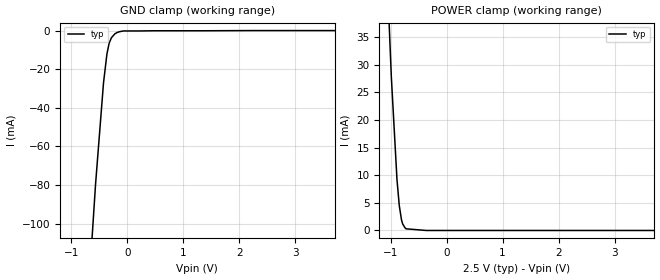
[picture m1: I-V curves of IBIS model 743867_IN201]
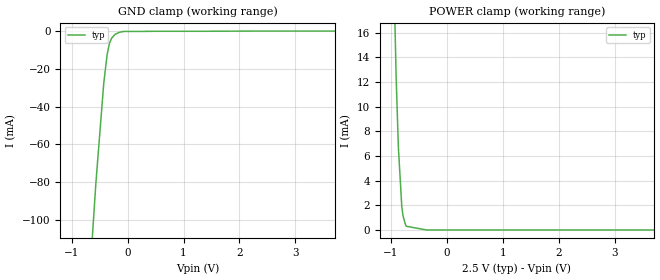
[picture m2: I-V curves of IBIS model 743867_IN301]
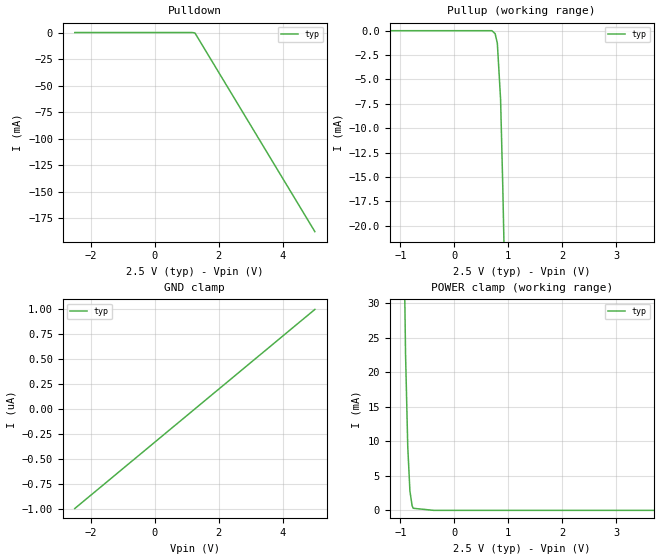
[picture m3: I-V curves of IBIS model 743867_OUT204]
| YOU ARE ONLY AUTHORIZED TO USE THIS SOFTWARE
| ACCORDING TO LICENSOR'S LICENSE RESTRICTIONS.
[IBIS Ver] 3.1
[File Name] nbsg11ba_25v.ibs
[File Rev] 0.1
[Source] Derived from NBSG16BA_25v Measured and created by ICX Technology
[Date] 1/14/2002
[Copyright]
| (C) COPYRIGHT 1993-2001
| MENTOR GRAPHICS CORPORATION
| ICX STANDARD LIBRARY, ICX PROJECT MODELING,
| ICX CUSTOM MODELING, ICX VENDOR MODEL
| ALL RIGHTS RESERVED.
| THE FOLLOWING ARE TRADEMARKS OR SERVICE MARKS OF
| MENTOR GRAPHICS CORPORATION:ICX (R), ICX STANDARD
| LIBRARY(R), ICX PROJECT MODELING(R), ICX CUSTOM
| MODELING(R), qualityIBIS(TM), MODELVIEWER(TM),
| AND MODELEDITOR(TM)
| ALL COPIES OF SOFTWARE, INCLUDING BUT NOT LIMITED TO
| ANY MODIFICATIONS, ENHANCEMENTS OR DERIVATIVE WORKS,
| MUST CONTAIN ALL MENTOR GRAPHICS CORPORATION'S
| NOTICES AND LEGENDS, INCLUDING THOSE EMBEDDED IN
| SOFTWARE AND THOSE AFFIXED TO SOFTWARE MEDIUM
| AND CONTAINER, AS RECEIVED FROM MENTOR GRAPHICS
| CORPORATION.
|  ZAP Model Builder 3.2
[Component] NBSG11BA_25v
[Manufacturer] OnSemico
[Package]
| variable   typ   min   max
R_pkg  .154ohms NA NA
L_pkg  1.727nH NA NA
C_pkg  1.114pF NA NA
[Pin] signal_name  model_name  R_pin  L_pin C_pin
A1 VTCLK NC .144 1.675n 1.08p
A2 NC NC .158 1.726n 1.113p
A3 NC NC .158 1.726n 1.113p
A4 _Q1 743867_OUT304 .149 1.726n 1.113p
B1 CLK 743867_IN201 .149 1.726n 1.113p
B2 VEE POWER .163 1.78n 1.148p
B3 VCC POWER .144 1.675n 1.08p
B4 Q1 743867_OUT204 .149 1.726n 1.113p
C1 _CLK 743867_IN301 .149 1.726n 1.113p
C2 VEE POWER .163 1.78n 1.148p
C3 VCC POWER .144 1.675n 1.08p
C4 _Q0 743867_OUT304 .149 1.726n 1.113p
D1 _VTCLK NC .144 1.675n 1.08p
D2 NC NC .158 1.726n 1.113p
D3 NC NC .158 1.726n 1.113p
D4 Q0 743867_OUT204 .149 1.726n 1.113p
[Diff Pin] inv_pin vdiff tdelay_typ tdelay_min tdelay_max
B1 C1 150mv NA NA NA
B4 A4 NA 0.150ns NA NA
D4 C4 NA 0.150ns NA NA
| Models and submodels in the file (4): 743867_IN201 (Input_ECL), 743867_IN301 (Input_ECL), 743867_OUT204 (Output_ECL), 743867_OUT304 (Output_ECL)
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| (C) COPYRIGHT 1993-2001
| MENTOR GRAPHICS CORPORATION
| ICX STANDARD LIBRARY, ICX PROJECT MODELING,
| ICX CUSTOM MODELING, ICX VENDOR MODEL
| ALL RIGHTS RESERVED.
| THE FOLLOWING ARE TRADEMARKS OR SERVICE MARKS OF
| MENTOR GRAPHICS CORPORATION:ICX (R), ICX STANDARD
| LIBRARY(R), ICX PROJECT MODELING(R), ICX CUSTOM
| MODELING(R), qualityIBIS(TM), MODELVIEWER(TM),
| AND MODELEDITOR(TM)
| ALL COPIES OF SOFTWARE, INCLUDING BUT NOT LIMITED TO
| ANY MODIFICATIONS, ENHANCEMENTS OR DERIVATIVE WORKS,
| MUST CONTAIN ALL MENTOR GRAPHICS CORPORATION'S
| NOTICES AND LEGENDS, INCLUDING THOSE EMBEDDED IN
| SOFTWARE AND THOSE AFFIXED TO SOFTWARE MEDIUM
| AND CONTAINER, AS RECEIVED FROM MENTOR GRAPHICS
| CORPORATION.
| Model Application Version 1.89 2/18/99.
[Model] 743867_IN201
Model_type Input_ECL
Vinl = 1.000V
Vinh = 1.400V
C_comp 500.0fF NA NA
| variable typ   min   max
[Voltage Range] 2.500V NA NA
[GND Clamp Reference] 0.000V NA NA
[POWER Clamp Reference] 2.500V NA NA
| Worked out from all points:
|   GND clamp passes 1 mA (typ) near -0.19 V on its own axis
|   POWER clamp passes 1 mA (typ) near -0.77 V on its own axis
[GND Clamp]
-2.5V     -943.4mA   NA         NA
-568mV    -79.7mA    NA         NA
-426mV    -27.1mA    NA         NA
-365mV    -12.1mA    NA         NA
-325mV    -6.4mA     NA         NA
-284mV    -3.6mA     NA         NA
-223mV    -1.6mA     NA         NA
-183mV    -900uA     NA         NA
-71mV     -100uA     NA         NA
5V        100uA      NA         NA
[POWER Clamp]
-2.5V     402mA      NA         NA
-986mV    27.8mA     NA         NA
-885mV    9.2mA      NA         NA
-844mV    4.5mA      NA         NA
-804mV    1.9mA      NA         NA
-784mV    1.2mA      NA         NA
-743mV    500uA      NA         NA
-723mV    300uA      NA         NA
-361.5mV  0A         NA         NA
5V        0A         NA         NA
| (C) COPYRIGHT 1993-2001
| MENTOR GRAPHICS CORPORATION
| ICX STANDARD LIBRARY, ICX PROJECT MODELING,
| ICX CUSTOM MODELING, ICX VENDOR MODEL
| ALL RIGHTS RESERVED.
| THE FOLLOWING ARE TRADEMARKS OR SERVICE MARKS OF
| MENTOR GRAPHICS CORPORATION:ICX (R), ICX STANDARD
| LIBRARY(R), ICX PROJECT MODELING(R), ICX CUSTOM
| MODELING(R), qualityIBIS(TM), MODELVIEWER(TM),
| AND MODELEDITOR(TM)
| ALL COPIES OF SOFTWARE, INCLUDING BUT NOT LIMITED TO
| ANY MODIFICATIONS, ENHANCEMENTS OR DERIVATIVE WORKS,
| MUST CONTAIN ALL MENTOR GRAPHICS CORPORATION'S
| NOTICES AND LEGENDS, INCLUDING THOSE EMBEDDED IN
| SOFTWARE AND THOSE AFFIXED TO SOFTWARE MEDIUM
| AND CONTAINER, AS RECEIVED FROM MENTOR GRAPHICS
| CORPORATION.
| Model Application Version 1.89 2/18/99.
[Model] 743867_IN301
Model_type Input_ECL
Vinl = 1.000V
Vinh = 1.400V
C_comp 500.0fF NA NA
| variable typ   min   max
[Voltage Range] 2.500V NA NA
[GND Clamp Reference] 0.000V NA NA
[POWER Clamp Reference] 2.500V NA NA
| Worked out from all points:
|   GND clamp passes 1 mA (typ) near -0.18 V on its own axis
|   POWER clamp passes 1 mA (typ) near -0.77 V on its own axis
[GND Clamp]
-2.5V     -960.9mA   NA         NA
-568mV    -81.1mA    NA         NA
-426mV    -27.6mA    NA         NA
-365mV    -12.3mA    NA         NA
-325mV    -6.5mA     NA         NA
-284mV    -3.6mA     NA         NA
-223mV    -1.6mA     NA         NA
-71mV     -100uA     NA         NA
5V        100uA      NA         NA
[POWER Clamp]
-2.5V     405.1mA    NA         NA
-1.027V   36.9mA     NA         NA
-905mV    12.4mA     NA         NA
-865mV    6.7mA      NA         NA
-804mV    1.9mA      NA         NA
-784mV    1.2mA      NA         NA
-743mV    500uA      NA         NA
-723mV    300uA      NA         NA
-361.5mV  0A         NA         NA
5V        0A         NA         NA
| (C) COPYRIGHT 1993-2001
| MENTOR GRAPHICS CORPORATION
| ICX STANDARD LIBRARY, ICX PROJECT MODELING,
| ICX CUSTOM MODELING, ICX VENDOR MODEL
| ALL RIGHTS RESERVED.
| THE FOLLOWING ARE TRADEMARKS OR SERVICE MARKS OF
| MENTOR GRAPHICS CORPORATION:ICX (R), ICX STANDARD
| LIBRARY(R), ICX PROJECT MODELING(R), ICX CUSTOM
| MODELING(R), qualityIBIS(TM), MODELVIEWER(TM),
| AND MODELEDITOR(TM)
| ALL COPIES OF SOFTWARE, INCLUDING BUT NOT LIMITED TO
| ANY MODIFICATIONS, ENHANCEMENTS OR DERIVATIVE WORKS,
| MUST CONTAIN ALL MENTOR GRAPHICS CORPORATION'S
| NOTICES AND LEGENDS, INCLUDING THOSE EMBEDDED IN
| SOFTWARE AND THOSE AFFIXED TO SOFTWARE MEDIUM
| AND CONTAINER, AS RECEIVED FROM MENTOR GRAPHICS
| CORPORATION.
| Model Application Version 1.89 2/18/99.
[Model] 743867_OUT204
Model_type Output_ECL
Vref=500.0mV
Rref=50.00ohms
Cref=0.000F
Vmeas=1.200V
C_comp 500.0fF NA NA
| variable typ   min   max
[Voltage Range] 2.500V NA NA
[POWER Clamp Reference] 2.500V NA NA
[Pullup Reference] 2.500V NA NA
[Pulldown Reference] 2.500V NA NA
[GND Clamp Reference] 0.000V NA NA
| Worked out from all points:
|   POWER clamp passes 1 mA (typ) near -0.79 V on its own axis
[GND Clamp]
-2.5V     -1uA       NA         NA
5V        1uA        NA         NA
[Pulldown]
-2.5V     0A         NA         NA
1.177V    0A         NA         NA
1.238V    -300uA     NA         NA
1.259V    -700uA     NA         NA
5V        -187.7mA   NA         NA
[Pullup]
-2.5V     0A         NA         NA
696mV     0A         NA         NA
757mV     -300uA     NA         NA
798mV     -1.3mA     NA         NA
858mV     -7mA       NA         NA
899mV     -16mA      NA         NA
5V        -1.093A    NA         NA
[POWER Clamp]
-2.5V     946.4mA    NA         NA
-905mV    22.6mA     NA         NA
-864mV    9.2mA      NA         NA
-824mV    2.8mA      NA         NA
-784mV    700uA      NA         NA
-763mV    300uA      NA         NA
-381.5mV  0A         NA         NA
5V        0A         NA         NA
[Ramp]
| variable typ min max
dV/dt_r 646.6m/30.00p NA NA
dV/dt_f 646.6m/30.00p NA NA
R_load = 50.00Ohms
